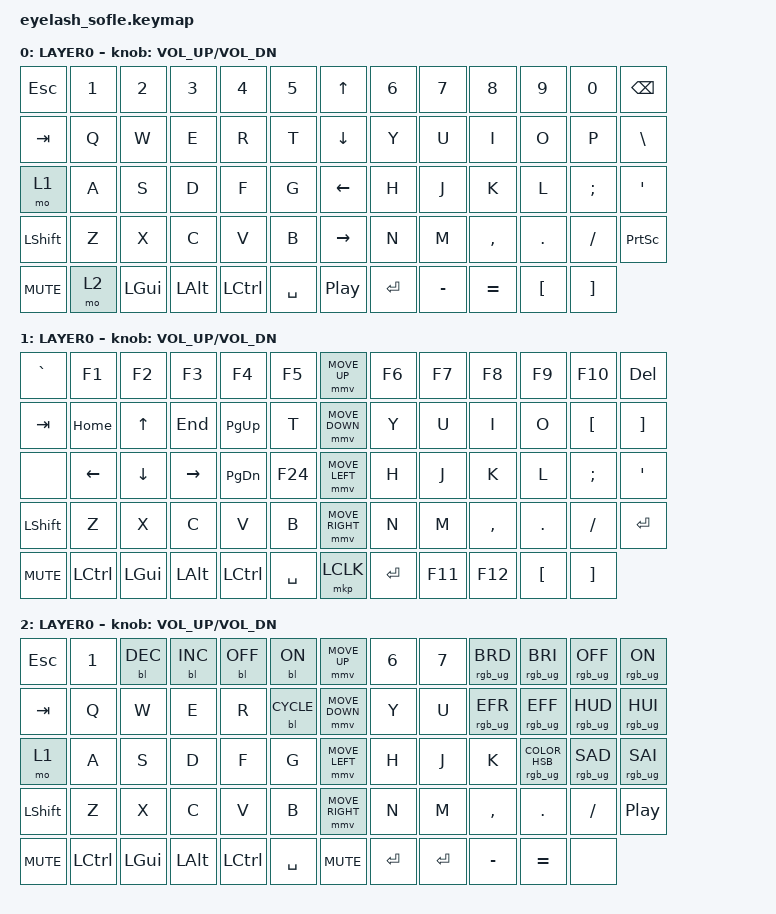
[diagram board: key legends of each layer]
#include <dt-bindings/zmk/mouse.h>
#include <input/processors.dtsi>
#include <behaviors.dtsi>
#include <dt-bindings/zmk/backlight.h>
#include <dt-bindings/zmk/keys.h>
#include <dt-bindings/zmk/pointing.h>
#include <dt-bindings/zmk/rgb.h>

/*

   &mmv_input_listener {
       input-processors = <&zip_xy_scaler 2 1>;
   };

   &msc_input_listener {
       input-processors = <&zip_xy_scaler 2 1>;
   };

 */

#define ZMK_MOUSE_DEFAULT_MOVE_VAL 1200  // 600
#define ZMK_MOUSE_DEFAULT_SCRL_VAL 20    // 10

/ {
    behaviors {
        mmv {
            acceleration-exponent = <1>;      // 1
            time-to-max-speed-ms = <900>;    // 40
            delay-ms = <0>;                   // 0
        };

        msc {
            acceleration-exponent = <1>;      // 0
            time-to-max-speed-ms = <400>;      // 500
            delay-ms = <0>;                   //   10
        };
    };

    scroll_encoder: scroll_encoder {
        compatible = "zmk,behavior-sensor-rotate";
        #sensor-binding-cells = <0>;
        bindings = <&msc SCRL_DOWN>, <&msc SCRL_UP>;

        tap-ms = <30>;
    };

    keymap {
        compatible = "zmk,keymap";

        layer0 {
            bindings = <
&kp ESCAPE  &kp N1  &kp N2        &kp N3        &kp N4            &kp N5       &kp UP_ARROW      &kp N6     &kp N7     &kp N8     &kp N9            &kp N0             &kp BACKSPACE
&kp TAB     &kp Q   &kp W         &kp E         &kp R             &kp T        &kp DOWN_ARROW    &kp Y      &kp U      &kp I      &kp O             &kp P              &kp BSLH
&mo 1       &kp A   &kp S         &kp D         &kp F             &kp G        &kp LEFT_ARROW    &kp H      &kp J      &kp K      &kp L             &kp SEMI           &kp APOS
&kp LSHFT   &kp Z   &kp X         &kp C         &kp V             &kp B        &kp RIGHT_ARROW   &kp N      &kp M      &kp COMMA  &kp DOT           &kp FSLH           &kp PRINTSCREEN
&kp C_MUTE  &mo 2   &kp LEFT_GUI  &kp LEFT_ALT  &kp LEFT_CONTROL  &kp SPACE    &kp C_PLAY_PAUSE  &kp ENTER  &kp MINUS  &kp EQUAL  &kp LEFT_BRACKET  &kp RIGHT_BRACKET
            >;

            sensor-bindings = <&inc_dec_kp C_VOLUME_UP C_VOL_DN>;
            display-name = "LAYER0";
        };

        layer_3 {
            display-name = "LAYER0";
            bindings = <
&kp GRAVE   &kp F1          &kp F2          &kp F3           &kp F4     &kp F5       &mmv MOVE_UP     &kp F6     &kp F7   &kp F8     &kp F9            &kp F10            &kp DELETE
&kp TAB     &kp HOME        &kp UP_ARROW    &kp END          &kp PG_UP  &kp T        &mmv MOVE_DOWN   &kp Y      &kp U    &kp I      &kp O             &kp LEFT_BRACKET   &kp RIGHT_BRACKET
&none       &kp LEFT_ARROW  &kp DOWN_ARROW  &kp RIGHT_ARROW  &kp PG_DN  &kp F24      &mmv MOVE_LEFT   &kp H      &kp J    &kp K      &kp L             &kp SEMI           &kp APOS
&kp LSHFT   &kp Z           &kp X           &kp C            &kp V      &kp B        &mmv MOVE_RIGHT  &kp N      &kp M    &kp COMMA  &kp DOT           &kp FSLH           &kp ENTER
&kp C_MUTE  &kp LCTRL       &kp LEFT_GUI    &kp LEFT_ALT     &kp LCTRL  &kp SPACE    &mkp LCLK        &kp ENTER  &kp F11  &kp F12    &kp LEFT_BRACKET  &kp RIGHT_BRACKET
            >;

            sensor-bindings = <&inc_dec_kp C_VOLUME_UP C_VOL_DN>;
        };

        layer_2 {
            display-name = "LAYER0";
            bindings = <
&kp ESC     &kp N1     &bl BL_DEC    &bl BL_INC    &bl BL_OFF  &bl BL_ON       &mmv MOVE_UP     &kp N6     &kp N7     &rgb_ug RGB_BRD  &rgb_ug RGB_BRI                   &rgb_ug RGB_OFF  &rgb_ug RGB_ON
&kp TAB     &kp Q      &kp W         &kp E         &kp R       &bl BL_CYCLE    &mmv MOVE_DOWN   &kp Y      &kp U      &rgb_ug RGB_EFR  &rgb_ug RGB_EFF                   &rgb_ug RGB_HUD  &rgb_ug RGB_HUI
&mo 1       &kp A      &kp S         &kp D         &kp F       &kp G           &mmv MOVE_LEFT   &kp H      &kp J      &kp K            &rgb_ug RGB_COLOR_HSB(0,100,100)  &rgb_ug RGB_SAD  &rgb_ug RGB_SAI
&kp LSHFT   &kp Z      &kp X         &kp C         &kp V       &kp B           &mmv MOVE_RIGHT  &kp N      &kp M      &kp COMMA        &kp DOT                           &kp FSLH         &kp C_PLAY_PAUSE
&kp C_MUTE  &kp LCTRL  &kp LEFT_GUI  &kp LEFT_ALT  &kp LCTRL   &kp SPACE       &kp C_MUTE       &kp ENTER  &kp ENTER  &kp MINUS        &kp EQUAL                         &none
            >;

            sensor-bindings = <&inc_dec_kp C_VOLUME_UP C_VOL_DN>;
        };
    };
};
